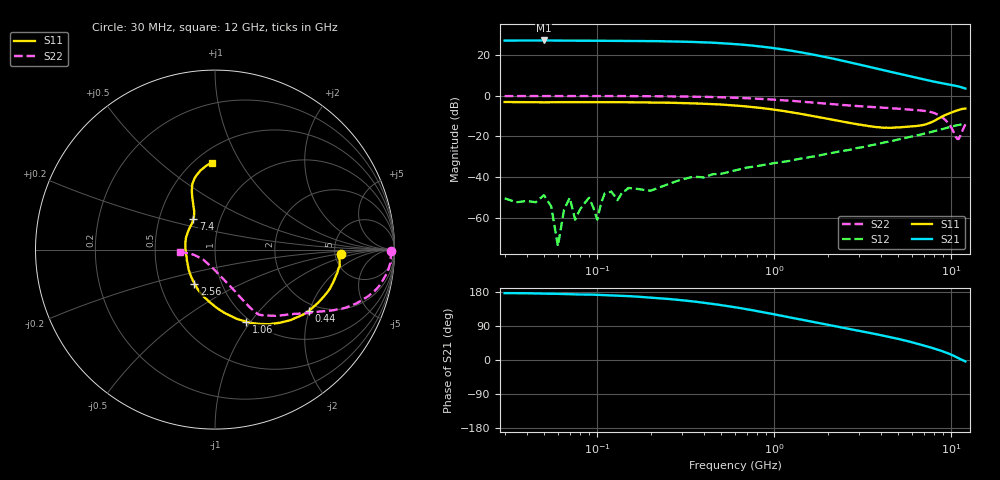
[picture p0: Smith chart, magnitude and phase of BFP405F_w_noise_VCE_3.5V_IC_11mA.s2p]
! (c) 2015  Infineon Technologies AG, Munich
! Infineon Technologies  Discrete & RF Semiconductors
! BFP405F
! VCE =  3.5 V,  IC =  11 mA
! Common Emitter S-Parameters:  Nov 2015
# GHz  S  MA  R  50
!  f  S11  S21  S12  S22
! GHz  MAG  ANG  MAG  ANG  MAG  ANG  MAG  ANG
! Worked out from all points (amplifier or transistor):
!   239 points, 30 MHz to 12 GHz, reference 50 ohm
!   highest |S21| = 27.2 dB at 50 MHz (marker M1)
!   |S21| within 3 dB of that: start of sweep to 844.2 MHz
!   unconditionally stable (mu >= 1): 59.93527 MHz to 60.09056 MHz; 99.64 MHz to 100.3 MHz; 2.268 GHz to end of sweep
!   at 300 MHz: K = 0.22, MSG = 33.9 dB, |S12| = -41.2 dB
!   at 1.88 GHz: K = 0.90, MSG = 24.1 dB, |S12| = -29.0 dB
!   at 12 GHz: K = 1.38, MAG = 5.0 dB, |S12| = -13.9 dB
!   lowest NFmin = 1.74 dB at 450 MHz
!   S11 on the Smith chart (normalised r, x): 30 MHz: 5.62, -0.51; 440 MHz: 1.79, -1.99; 1.06 GHz: 0.96, -0.95; 2.56 GHz: 0.74, -0.30; 7.4 GHz: 0.74, +0.26; 12 GHz: 0.61, +0.76
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0.03  0.7 -1.9  22.71 176.5  0.003 37.2  0.98 -0.5
0.05  0.6879 -3.4  22.84 175.1  0.0036 177.7  0.9837 -1.0
0.055  0.6921 -3.9  22.73 174.9  0.0019 179.5  0.9842 -1.1
0.06  0.6963 -4.4  22.61 174.6  0.0002 -146.2  0.9847 -1.2
0.07  0.6967 -4.9  22.6 173.5  0.0031 -131.6  0.9786 -1.7
0.075  0.6976 -5.6  22.53 173.2  0.0009 -151.3  0.9798 -1.9
0.085  0.6993 -6.8  22.49 172.8  0.0023 78.6  0.9801 -2.4
0.1  0.7016 -7.7  22.4 172.0  0.0009 19.7  0.9826 -3.0
0.11  0.6962 -8.5  22.38 171.2  0.0039 83.7  0.9807 -3.3
0.14  0.6936 -11.0  22.35 169.5  0.0045 54.7  0.982 -4.3
0.24  0.6762 -18.6  21.79 162.0  0.0062 85.8  0.9682 -7.5
0.32  0.6563 -24.4  21.23 156.4  0.0093 78.8  0.9538 -9.8
0.44  0.6256 -32.9  20.2 148.6  0.0114 77.8  0.9308 -13.2
0.6  0.5754 -43.1  18.6 139.1  0.0146 73.6  0.8922 -16.9
0.8  0.5125 -54.2  16.58 128.9  0.0186 71.6  0.8447 -20.7
1.06  0.4383 -66.5  14.24 118.2  0.023 70.0  0.7865 -24.6
1.64  0.3185 -89.7  10.35 101.0  0.0317 67.6  0.6841 -30.3
2.56  0.2214 -121.1  6.891 83.3  0.0455 65.7  0.5823 -37.9
4.5  0.1634 -174.3  3.902 60.7  0.0754 60.8  0.4956 -48.0
7.4  0.2078 125.8  2.38 34.8  0.1229 50.1  0.4094 -57.5
10.8  0.4363 102.3  1.721 6.5  0.1886 31.3  0.0868 -120.4
12  0.4836 91.8  1.502 -3.7  0.2029 24.4  0.198 -176.0
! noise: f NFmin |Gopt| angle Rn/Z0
0.45  1.74  0.18  5  0.33
0.9  1.75  0.17  8  0.34
1.5  1.81  0.15  13  0.24
1.9  1.84  0.13  20  0.28
2.4  1.98  0.12  27  0.33
3  2.05  0.1  39  0.35
3.5  2.11  0.07  44  0.43
4.5  2.28  0.06  40  0.2
5.5  2.5  0.03  17  0.06
